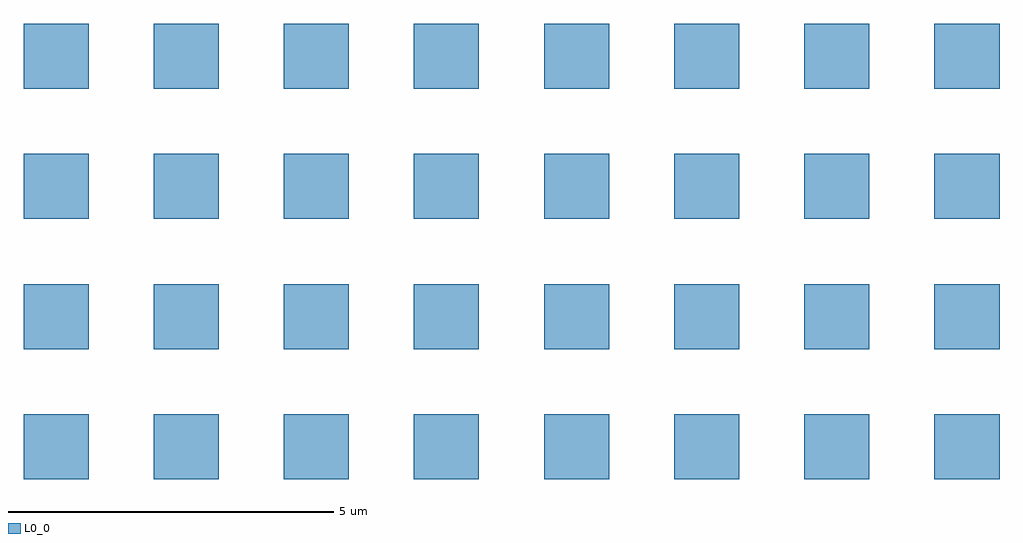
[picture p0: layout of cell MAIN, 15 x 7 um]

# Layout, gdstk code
import gdstk
lib = gdstk.Library(unit=1e-6, precision=1e-09)
def R(c, l, rs):  # rectangles x0, y0, x1, y1
    for r in rs: c.add(gdstk.rectangle(r[:2], r[2:], *l))
L0_0 = (0, 0)

new = lib.new_cell('NEW')
R(new, L0_0, [(-0.5,-0.5,0.5,0.5)])

main = lib.new_cell('MAIN')
r = gdstk.Reference(new, (0,0)); r.repetition = gdstk.Repetition(8, 4, v1=(2,0), v2=(0,2)); main.add(r)

lib.write_gds('MAIN.gds')
